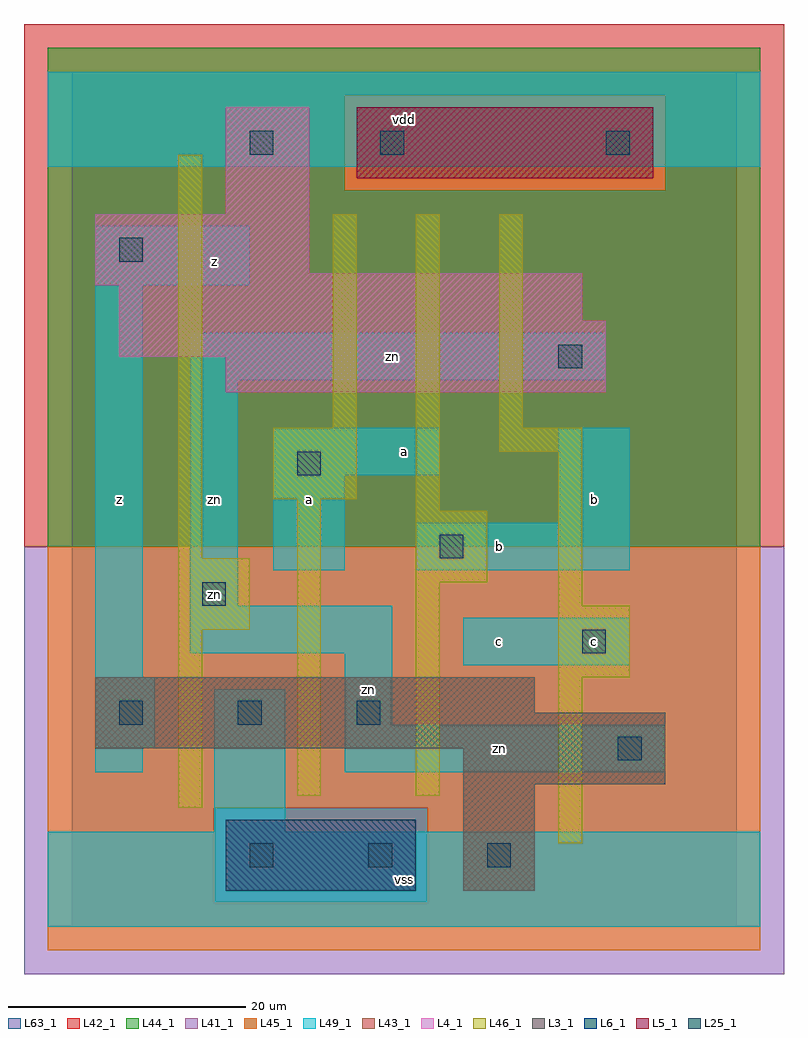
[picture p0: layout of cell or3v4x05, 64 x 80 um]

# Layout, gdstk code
import gdstk
lib = gdstk.Library(unit=1e-6, precision=1e-09)
def R(c, l, rs):  # rectangles x0, y0, x1, y1
    for r in rs: c.add(gdstk.rectangle(r[:2], r[2:], *l))
def A(c, l, x, y, w, h, nx, ny, dx, dy):  # array of equal rectangles
    R(c, l, [(x+i*dx, y+j*dy, x+i*dx+w, y+j*dy+h) for i in range(nx) for j in range(ny)])
L3_1 = (3, 1)
L4_1 = (4, 1)
L5_1 = (5, 1)
L6_1 = (6, 1)
L25_1 = (25, 1)
L41_1 = (41, 1)
L42_1 = (42, 1)
L43_1 = (43, 1)
L44_1 = (44, 1)
L45_1 = (45, 1)
L46_1 = (46, 1)
L49_1 = (49, 1)
L63_1 = (63, 1)

or3v4x05 = lib.new_cell('or3v4x05')
R(or3v4x05, L3_1, [(33,3,39,12), (33,12,50,15), (2,15,50,18), (2,18,39,21)])
R(or3v4x05, L4_1, [(13,45,45,48), (4,48,45,51), (4,51,43,54), (2,54,43,55), (2,55,20,60), (13,60,20,69)])
R(or3v4x05, L5_1, [(24,63,49,69)])
R(or3v4x05, L6_1, [(13,3,29,9), (13,3,29,9)])
A(or3v4x05, L25_1, 15, 5, 2, 2, 3, 1, 10, 0)
A(or3v4x05, L25_1, 4, 17, 2, 2, 3, 1, 10, 0)
R(or3v4x05, L25_1, [(46,14,48,16), (43,23,45,25), (11,27,13,29), (31,31,33,33), (19,38,21,40), (41,47,43,49), (4,56,6,58), (15,65,17,67), (26,65,28,67), (45,65,47,67)])
R(or3v4x05, L41_1, [(-4,-4,60,32)])
R(or3v4x05, L42_1, [(-4,32,60,76)])
R(or3v4x05, L43_1, [(13,3,29,9), (33,3,39,12), (33,12,50,15), (2,15,50,18), (2,18,39,21), (13,45,45,48), (4,48,45,51), (4,51,43,54), (2,54,43,55), (2,55,20,60), (13,60,20,69), (24,63,49,69)])
R(or3v4x05, L44_1, [(12,2,30,10), (-2,32,58,62), (-2,62,23,70), (50,62,58,70), (-2,70,58,74)])
R(or3v4x05, L45_1, [(-2,-2,58,2), (-2,2,12,10), (30,2,58,10), (-2,10,58,32), (23,62,50,70)])
R(or3v4x05, L46_1, [(41,7,43,21), (9,10,11,25), (19,11,21,36), (29,11,31,29), (41,21,47,27), (9,25,15,31), (41,27,43,40), (29,29,35,35), (9,31,11,65), (29,35,31,60), (17,36,24,42), (36,40,43,42), (22,42,24,60), (36,42,38,60)])
R(or3v4x05, L49_1, [(-2,0,58,8), (12,8,18,20), (2,13,6,15), (23,13,50,17), (2,15,7,21), (23,17,27,23), (2,21,6,54), (33,22,47,26), (10,23,27,27), (10,27,14,46), (17,30,23,38), (29,30,47,34), (41,34,47,42), (17,38,31,42), (10,46,45,50), (2,54,15,59), (-2,64,58,72)])
R(or3v4x05, L63_1, [(0,0,56,72)])
or3v4x05.add(gdstk.Label('zn', (12,28), layer=49, texttype=1))
or3v4x05.add(gdstk.Label('z', (4,36), layer=49, texttype=1))
or3v4x05.add(gdstk.Label('zn', (25,20), layer=49, texttype=1))
or3v4x05.add(gdstk.Label('a', (20,36), layer=49, texttype=1))
or3v4x05.add(gdstk.Label('zn', (12,36), layer=49, texttype=1))
or3v4x05.add(gdstk.Label('z', (12,56), layer=49, texttype=1))
or3v4x05.add(gdstk.Label('vss', (28,4), layer=49, texttype=1))
or3v4x05.add(gdstk.Label('c', (36,24), layer=49, texttype=1))
or3v4x05.add(gdstk.Label('b', (36,32), layer=49, texttype=1))
or3v4x05.add(gdstk.Label('a', (28,40), layer=49, texttype=1))
or3v4x05.add(gdstk.Label('vdd', (28,68), layer=49, texttype=1))
or3v4x05.add(gdstk.Label('zn', (36,15), layer=49, texttype=1))
or3v4x05.add(gdstk.Label('c', (44,24), layer=49, texttype=1))
or3v4x05.add(gdstk.Label('b', (44,36), layer=49, texttype=1))
or3v4x05.add(gdstk.Label('zn', (27,48), layer=49, texttype=1))

lib.write_gds('or3v4x05.gds')
